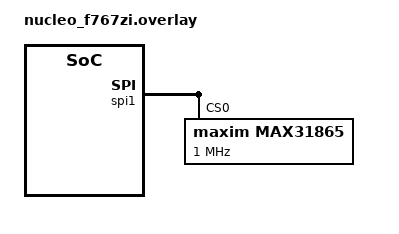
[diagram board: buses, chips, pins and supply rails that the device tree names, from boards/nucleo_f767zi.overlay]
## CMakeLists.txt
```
cmake_minimum_required(VERSION 3.20.0)
find_package(Zephyr REQUIRED HINTS $ENV{ZEPHYR_BASE})
project(coffee_roaster_controller)

target_include_directories(app PRIVATE src)

target_sources(app PRIVATE
	src/main.c
	src/application/commands.c
	src/application/roaster.c
	src/application/state_machine.c
	src/application/telemetry.c
	src/control/controller.c
	src/control/filters.c
	src/control/pid.c
	src/control/profile.c
	src/control/ror.c
	src/hardware/fan.c
	src/hardware/heater.c
	src/hardware/temperature.c
	src/safety/faults.c
	src/safety/interlocks.c
	src/safety/safety_manager.c
	src/storage/logger.c
)
```

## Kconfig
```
mainmenu "Coffee Roaster Controller"

source "Kconfig.zephyr"

menu "Coffee Roaster Controller"

config ROASTER_DISPLAY
	bool "Local display support"
	default n

config ROASTER_ENCODER
	bool "Rotary encoder support"
	default n

config ROASTER_CURRENT_SENSE
	bool "Heater current sensing support"
	default n

config ROASTER_ZERO_CROSS
	bool "Mains zero-cross sensing support"
	default n

config ROASTER_FAN_CONTROL
	bool "Fan power control support"
	default n

config ROASTER_STORAGE
	bool "Persistent profile and settings storage"
	default n

choice ROASTER_HEATER_ACTUATOR
	prompt "Heater actuator backend"
	default ROASTER_HEATER_MOCK_GPIO

config ROASTER_HEATER_MOCK_GPIO
	bool "Mock GPIO time-proportioning output"
	help
	  Safe bring-up backend. It maps heater demand to a slow on/off GPIO
	  window and is intended for an LED or other low-voltage mock load.

config ROASTER_HEATER_ROBOTDYN_DIMMER
	bool "RobotDyn 16A/600V AC dimmer"
	select ROASTER_ZERO_CROSS
	help
	  Phase-angle TRIAC backend for RobotDyn-style AC dimmer modules with
	  ZC and PSM pins. The real pins must be supplied by devicetree aliases
	  heater-zc0 and heater-psm0.

endchoice

config ROASTER_HEATER_BURST_WINDOW_MS
	int "Heater time-proportioning burst window"
	default 1000
	range 100 10000
	depends on ROASTER_HEATER_MOCK_GPIO

config ROASTER_MAINS_HALF_CYCLE_US
	int "Nominal mains half-cycle period in microseconds"
	default 8333
	range 7000 10000
	depends on ROASTER_HEATER_ROBOTDYN_DIMMER
	help
	  Use 8333 for 60 Hz mains and 10000 for 50 Hz mains.

config ROASTER_ROBOTDYN_DIMMER_MIN_FIRE_DELAY_US
	int "Minimum TRIAC fire delay after zero-cross"
	default 150
	range 50 1000
	depends on ROASTER_HEATER_ROBOTDYN_DIMMER

config ROASTER_ROBOTDYN_DIMMER_GATE_PULSE_US
	int "TRIAC gate pulse duration"
	default 100
	range 50 1000
	depends on ROASTER_HEATER_ROBOTDYN_DIMMER

config ROASTER_ROBOTDYN_DIMMER_ZC_MIN_INTERVAL_US
	int "Zero-cross noise reject interval"
	default 3000
	range 1000 6000
	depends on ROASTER_HEATER_ROBOTDYN_DIMMER

config ROASTER_HARD_MAX_TEMP_MDEG_C
	int "Absolute safety temperature limit in millidegrees C"
	default 260000

endmenu
```

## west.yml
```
manifest:
  remotes:
    - name: zephyrproject-rtos
      url-base: https://github.com/zephyrproject-rtos
  projects:
    - name: zephyr
      remote: zephyrproject-rtos
      revision: v3.7.0
      import: true
  self:
    path: app
```

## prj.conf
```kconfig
CONFIG_SERIAL=y
CONFIG_CONSOLE=y
CONFIG_UART_CONSOLE=y
CONFIG_STDOUT_CONSOLE=y
CONFIG_PRINTK=y

CONFIG_LOG=y
CONFIG_LOG_BACKEND_UART=y
CONFIG_LOG_DEFAULT_LEVEL=3

CONFIG_GPIO=y
CONFIG_SPI=y
CONFIG_SENSOR=y
CONFIG_MAX31865=y

CONFIG_MAIN_STACK_SIZE=4096

CONFIG_ROASTER_HARD_MAX_TEMP_MDEG_C=260000
```

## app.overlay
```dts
/*
 * Common overlays can live here. The current NUCLEO-F767ZI wiring is in
 * boards/nucleo_f767zi.overlay because Zephyr auto-selects board overlays.
 */
```

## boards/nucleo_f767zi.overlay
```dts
/ {
	aliases {
		/* Safe mock heater output. The RobotDyn dimmer backend uses
		 * heater-zc0 and heater-psm0 aliases after real pins are selected.
		 */
		heater0 = &green_led;
	};
};

&spi1 {
	max31865: max31865@0 {
		compatible = "maxim,max31865";
		reg = <0>;
		spi-max-frequency = <1000000>;
		resistance-at-zero = <100>;
		resistance-reference = <430>;
		maxim,3-wire;
		status = "okay";
	};
};
```

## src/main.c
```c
#include <zephyr/logging/log.h>
#include <zephyr/kernel.h>

#include "application/roaster.h"
#include "hardware/heater.h"
#include "hardware/temperature.h"
#include "storage/logger.h"

LOG_MODULE_REGISTER(main, LOG_LEVEL_INF);

#define CONTROL_PERIOD_MS 200U
#define TELEMETRY_PERIOD_MS 1000U

int main(void)
{
	struct roaster_context roaster;
	uint64_t next_telemetry_ms = 0U;

	LOG_INF("coffee roaster controller boot");

	(void)heater_init();
	heater_force_off();

	if (temperature_sensor_init() != 0) {
		LOG_WRN("temperature sensor is not ready; safety will keep heater off");
	}

	roaster_init(&roaster, (uint64_t)k_uptime_get());
	logger_emit_csv_header();

	while (1) {
		const uint64_t now_ms = (uint64_t)k_uptime_get();
		struct temperature_sample sample;
		struct roaster_inputs inputs;
		struct roaster_outputs outputs;

		(void)temperature_sensor_read(&sample);

		inputs.now_ms = now_ms;
		inputs.temperature = sample;
		inputs.heater_actual_permille = heater_get_actual();
		inputs.stop_pressed = false;
		inputs.airflow_ok = true;
		inputs.watchdog_recovered = false;
		inputs.heater_current_when_off = false;
		inputs.heater_open_when_on = false;

		(void)roaster_tick(&roaster, &inputs, &outputs);

		if (!outputs.heater_permit) {
			heater_force_off();
		} else {
			(void)heater_set_demand(outputs.heater_demand_permille);
		}
		heater_service(now_ms);

		if (now_ms >= next_telemetry_ms) {
			logger_emit_telemetry(roaster_get_telemetry(&roaster));
			next_telemetry_ms = now_ms + TELEMETRY_PERIOD_MS;
		}

		k_sleep(K_MSEC(CONTROL_PERIOD_MS));
	}
}
```
